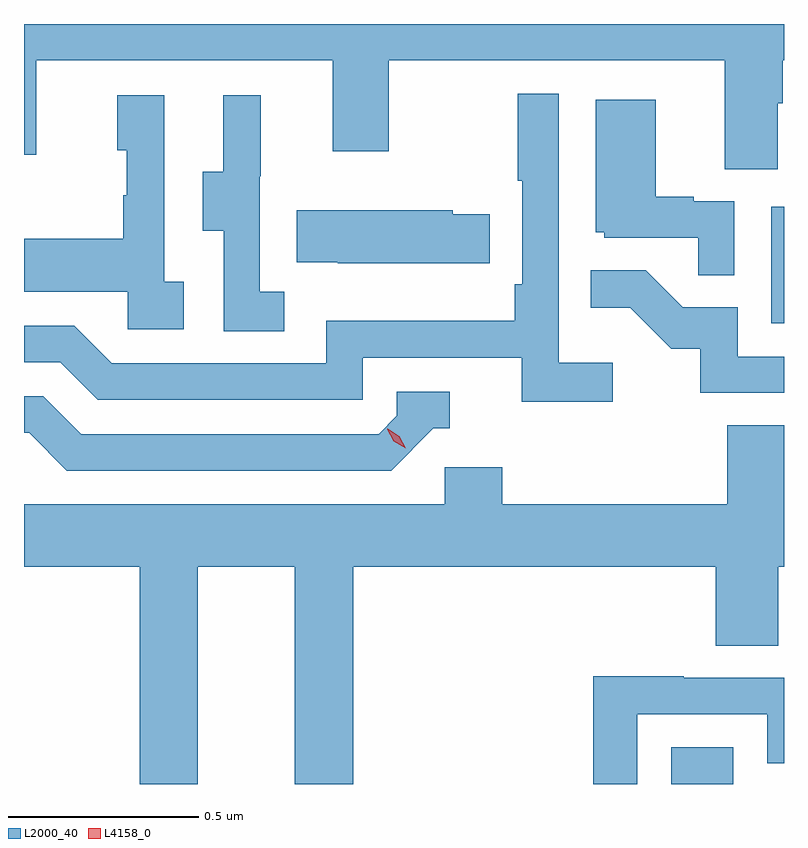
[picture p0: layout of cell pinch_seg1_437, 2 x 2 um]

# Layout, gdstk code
import gdstk
lib = gdstk.Library(unit=1e-6, precision=1e-09)
def R(c, l, rs):  # rectangles x0, y0, x1, y1
    for r in rs: c.add(gdstk.rectangle(r[:2], r[2:], *l))
def P(c, l, *ps):  # polygons
    for p in ps: c.add(gdstk.Polygon(p, *l))
L2000_40 = (2000, 40)
L4158_0 = (4158, 0)

pinch_seg1_437 = lib.new_cell('pinch_seg1_437')
R(pinch_seg1_437, L2000_40, [(949.868,532.512,950.032,532.609), (950.132,533.724,950.165,534.031)])
P(pinch_seg1_437, L2000_40, [(950.149,534.304),(950.162,534.304),(950.162,534.416),(950.165,534.416),(950.165,534.512),(948.165,534.512),(948.165,534.168),(948.197,534.168),(948.197,534.416),(948.977,534.416),(948.977,534.177),(949.125,534.177),(949.125,534.416),(950.009,534.416),(950.009,534.13),(950.149,534.13)],
  [(949.714,533.62),(949.572,533.62),(949.572,534.328),(949.464,534.328),(949.464,534.1),(949.476,534.1),(949.476,533.827),(949.456,533.827),(949.456,533.731),(948.96,533.731),(948.96,533.619),(948.396,533.619),(948.297,533.718),(948.165,533.718),(948.165,533.622),(948.26,533.622),(948.359,533.523),(949.056,533.523),(949.056,533.634),(949.475,533.634),(949.475,533.518),(949.714,533.518)],
  [(948.586,533.834),(948.534,533.834),(948.534,534.325),(948.41,534.325),(948.41,534.18),(948.436,534.18),(948.436,534.062),(948.426,534.062),(948.426,533.947),(948.165,533.947),(948.165,533.807),(948.438,533.807),(948.438,533.709),(948.586,533.709)],
  [(948.85,533.807),(948.786,533.807),(948.786,534.111),(948.788,534.111),(948.788,534.325),(948.689,534.325),(948.689,534.123),(948.635,534.123),(948.635,533.968),(948.69,533.968),(948.69,533.704),(948.85,533.704)],
  [(950.034,534.045),(949.928,534.045),(949.928,534.058),(949.828,534.058),(949.828,534.313),(949.67,534.313),(949.67,533.964),(949.692,533.964),(949.692,533.949),(949.939,533.949),(949.939,533.851),(950.034,533.851)],
  [(949.391,534.012),(949.293,534.012),(949.293,534.022),(948.883,534.022),(948.883,533.885),(948.991,533.885),(948.991,533.882),(949.391,533.882)],
  [(950.165,533.637),(950.043,533.637),(950.043,533.766),(949.899,533.766),(949.801,533.864),(949.657,533.864),(949.657,533.765),(949.761,533.765),(949.868,533.658),(949.945,533.658),(949.945,533.541),(950.165,533.541)],
  [(949.242,533.448),(949.285,533.448),(949.285,533.544),(949.146,533.544),(949.146,533.481),(949.098,533.433),(948.315,533.433),(948.216,533.532),(948.165,533.532),(948.165,533.436),(948.179,533.436),(948.278,533.337),(949.131,533.337)],
  [(948.622,533.084),(948.878,533.084),(948.878,532.512),(949.031,532.512),(949.031,533.084),(949.985,533.084),(949.985,532.876),(950.15,532.876),(950.15,533.084),(950.165,533.084),(950.165,533.456),(950.015,533.456),(950.015,533.248),(949.424,533.248),(949.424,533.346),(949.272,533.346),(949.272,533.248),(948.165,533.248),(948.165,533.084),(948.47,533.084),(948.47,532.512),(948.622,532.512)],
  [(949.779,532.695),(950.121,532.695),(950.121,532.566),(950.165,532.566),(950.165,532.791),(949.901,532.791),(949.901,532.796),(949.663,532.796),(949.663,532.512),(949.779,532.512)])
P(pinch_seg1_437, L4158_0, [(949.169,533.395),(949.138,533.414),(949.121,533.446),(949.121,533.447),(949.122,533.447),(949.152,533.427),(949.169,533.395),(949.169,533.395)])

lib.write_gds('pinch_seg1_437.gds')
